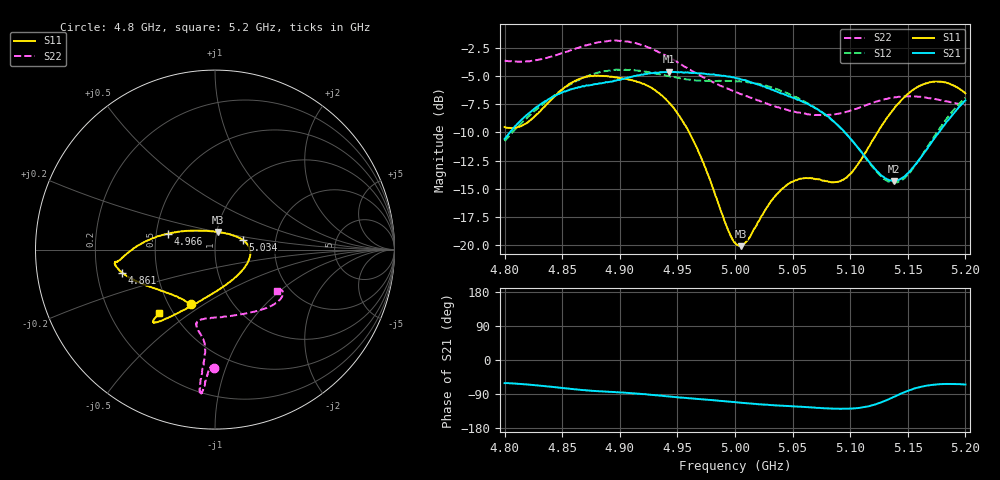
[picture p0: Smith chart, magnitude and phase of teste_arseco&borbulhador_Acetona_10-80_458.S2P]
! Network Analyzer HP8722D
! Hewlett-Packard
! Data name: Linha & Wilkinson
! Saver's name: Rodrigo Anjos
! Comments: Teste da utilização de aquisição
! continua pelo VNA HP8722D
! Time and date: 17/4/2025 18:10
!  Frequency  S11  S21  S12  S22
# HZ  S  MA R 50
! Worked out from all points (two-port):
!   401 points, 4.8 GHz to 5.2 GHz, reference 50 ohm
!   highest |S21| = -4.63 dB at 4.943 GHz (marker M1); lowest = -14.3 dB at 5.138 GHz (marker M2)
!   |S21| within 3 dB of the highest: 4.83 GHz to 5.066 GHz (236.1 MHz wide, 4.77 % of centre); 5.195534 GHz to end of sweep
!   lowest |S11| = -20.1 dB at 5.005 GHz (marker M3), VSWR 1.22, Z = 50.8 + j10 ohm
!   |S11| at or under -10 dB: 4.96 GHz to 5.124 GHz (163.4 MHz wide, 3.24 % of centre)
!   |S22| runs from -8.5 to -1.9 dB; largest |S21 - S12| = 0.88
!   S11 on the Smith chart (normalised r, x): 4.8 GHz: 0.64, -0.44; 4.861 GHz: 0.31, -0.11; 4.966 GHz: 0.58, +0.11; 5.034 GHz: 1.35, +0.15; 5.2 GHz: 0.42, -0.38
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4.8e9  0.334 -113.9  0.296 -61.0  0.2896 -175.2  0.6575 -90.3
4.819e9  0.3482 -134.1  0.377 -64.4  0.3646 -174.1  0.6531 -91.9
4.861e9  0.535 -166.2  0.4958 -77.4  0.5298 -177.1  0.739 -94.2
4.867e9  0.5502 -168.7  0.5053 -79.0  0.5472 -178.3  0.7589 -94.3
4.898e9  0.5524 -173.0  0.5397 -85.0  0.5989 175.5  0.8049 -95.7
4.934e9  0.4723 -179.0  0.5817 -94.0  0.5726 171.5  0.7154 -96.2
4.943e9  0.4268 176.7  0.5866 -96.4  0.5609 171.7  0.6778 -96.0
4.966e9  0.2758 161.2  0.5802 -102.4  0.5371 173.6  0.579 -95.4
4.993e9  0.1206 119.2  0.5597 -109.3  0.5337 175.9  0.496 -98.1
5e9  0.1028 97.3  0.5517 -111.4  0.5334 175.8  0.4778 -99.7
5.005e9  0.0992 79.8  0.5429 -112.8  0.5311 175.8  0.4671 -100.9
5.012e9  0.1071 58.1  0.5312 -114.5  0.5266 175.6  0.4537 -102.2
5.034e9  0.1634 19.5  0.4851 -119.5  0.4959 174.5  0.4131 -103.8
5.049e9  0.1907 4.3  0.4523 -122.0  0.4612 173.9  0.394 -100.1
5.067e9  0.1981 -14.9  0.4127 -125.3  0.4148 173.3  0.3785 -90.4
5.086e9  0.1903 -45.3  0.3525 -128.5  0.3519 173.4  0.3801 -75.9
5.097e9  0.1995 -67.9  0.3097 -128.7  0.3101 174.5  0.3906 -66.9
5.134e9  0.3788 -117.4  0.194 -102.8  0.1911 -155.7  0.4485 -43.1
5.138e9  0.4038 -119.7  0.1924 -97.3  0.1891 -149.4  0.4512 -41.3
5.15e9  0.468 -125.0  0.2084 -81.5  0.2052 -131.1  0.4565 -36.8
5.17e9  0.5284 -129.7  0.2825 -66.1  0.2879 -112.2  0.4477 -32.2
5.2e9  0.4709 -131.3  0.4379 -64.7  0.4503 -106.8  0.4171 -33.7
